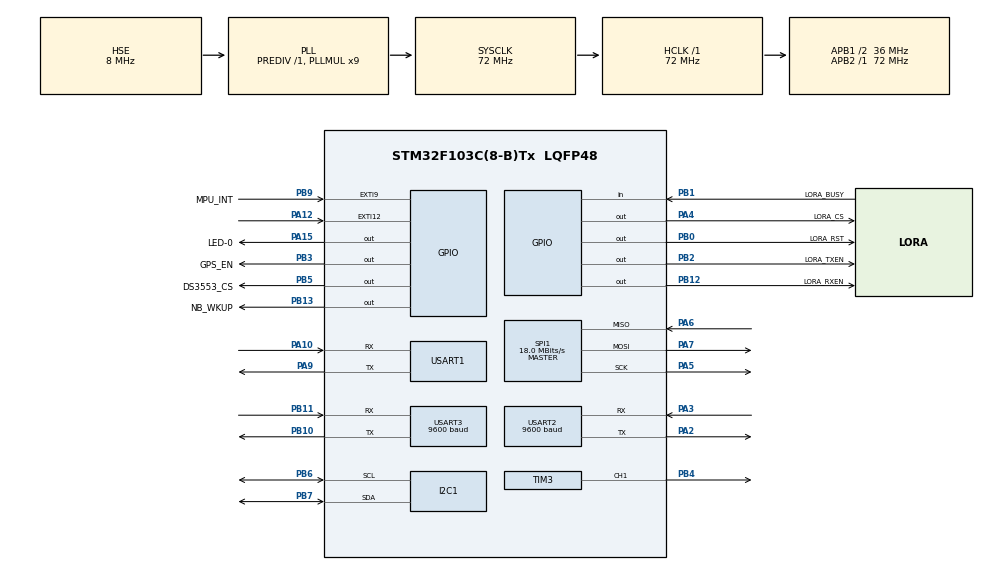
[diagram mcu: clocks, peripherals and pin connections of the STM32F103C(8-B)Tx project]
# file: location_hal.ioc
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I2C1.I2C_Mode=I2C_Standard
Mcu.Family=STM32F1
Mcu.Name=STM32F103C(8-B)Tx
Mcu.Package=LQFP48
NVIC.EXTI15_10_IRQn=true\:0\:0\:false\:false\:true\:true\:true\:true
NVIC.EXTI9_5_IRQn=true\:0\:0\:false\:false\:true\:true\:true\:true
NVIC.PriorityGroup=NVIC_PRIORITYGROUP_4
NVIC.USART2_IRQn=true\:0\:0\:false\:false\:true\:true\:true\:true
PA10.Mode=Asynchronous
PA10.Signal=USART1_RX
PA12.GPIO_ModeDefaultEXTI=GPIO_MODE_IT_FALLING
PA12.GPIO_PuPd=GPIO_PULLUP
PA12.Signal=GPXTI12
PA13.Mode=Serial_Wire
PA13.Signal=SYS_JTMS-SWDIO
PA14.Mode=Serial_Wire
PA14.Signal=SYS_JTCK-SWCLK
PA15.GPIO_Label=LED-0
PA15.GPIO_Speed=GPIO_SPEED_FREQ_HIGH
PA15.PinState=GPIO_PIN_RESET
PA15.Signal=GPIO_Output
PA2.Mode=Asynchronous
PA2.Signal=USART2_TX
PA3.Mode=Asynchronous
PA3.Signal=USART2_RX
PA4.GPIO_Label=LORA_CS
PA4.GPIO_PuPd=GPIO_NOPULL
PA4.GPIO_Speed=GPIO_SPEED_FREQ_HIGH
PA4.PinState=GPIO_PIN_RESET
PA4.Signal=GPIO_Output
PA5.Mode=Full_Duplex_Master
PA5.Signal=SPI1_SCK
PA6.Mode=Full_Duplex_Master
PA6.Signal=SPI1_MISO
PA7.Mode=Full_Duplex_Master
PA7.Signal=SPI1_MOSI
PA9.Mode=Asynchronous
PA9.Signal=USART1_TX
PB0.GPIO_Label=LORA_RST
PB0.GPIO_Speed=GPIO_SPEED_FREQ_HIGH
PB0.PinState=GPIO_PIN_RESET
PB0.Signal=GPIO_Output
PB1.GPIO_Label=LORA_BUSY
PB1.GPIO_Mode=GPIO_MODE_INPUT
PB1.GPIO_PuPd=GPIO_NOPULL
PB1.Signal=GPIO_Input
PB10.Mode=Asynchronous
PB10.Signal=USART3_TX
PB11.Mode=Asynchronous
PB11.Signal=USART3_RX
PB12.GPIO_Label=LORA_RXEN
PB12.GPIO_Speed=GPIO_SPEED_FREQ_HIGH
PB12.Signal=GPIO_Output
PB13.GPIO_Label=NB_WKUP
PB13.GPIO_Speed=GPIO_SPEED_FREQ_HIGH
PB13.PinState=GPIO_PIN_SET
PB13.Signal=GPIO_Output
PB2.GPIO_Label=LORA_TXEN
PB2.GPIO_Speed=GPIO_SPEED_FREQ_HIGH
PB2.PinState=GPIO_PIN_RESET
PB2.Signal=GPIO_Output
PB3.GPIO_Label=GPS_EN
PB3.GPIO_PuPd=GPIO_PULLDOWN
PB3.GPIO_Speed=GPIO_SPEED_FREQ_HIGH
PB3.Signal=GPIO_Output
PB4.Signal=S_TIM3_CH1
PB5.GPIO_Label=DS3553_CS
PB5.GPIO_Speed=GPIO_SPEED_FREQ_HIGH
PB5.PinState=GPIO_PIN_SET
PB5.Signal=GPIO_Output
PB6.Mode=I2C
PB6.Signal=I2C1_SCL
PB7.Mode=I2C
PB7.Signal=I2C1_SDA
PB9.GPIO_Label=MPU_INT
PB9.Signal=GPXTI9
PC14-OSC32_IN.Mode=LSE-External-Oscillator
PC14-OSC32_IN.Signal=RCC_OSC32_IN
PC15-OSC32_OUT.Mode=LSE-External-Oscillator
PC15-OSC32_OUT.Signal=RCC_OSC32_OUT
PD0-OSC_IN.Mode=HSE-External-Oscillator
PD0-OSC_IN.Signal=RCC_OSC_IN
PD1-OSC_OUT.Mode=HSE-External-Oscillator
PD1-OSC_OUT.Signal=RCC_OSC_OUT
ProjectManager.HeapSize=0x800
ProjectManager.StackSize=0x800
ProjectManager.TargetToolchain=MDK-ARM V5.32
RCC.AHBFreq_Value=72000000
RCC.APB1CLKDivider=RCC_HCLK_DIV2
RCC.APB1Freq_Value=36000000
RCC.APB1TimFreq_Value=72000000
RCC.APB2Freq_Value=72000000
RCC.APB2TimFreq_Value=72000000
RCC.HCLKFreq_Value=72000000
RCC.PLLMUL=RCC_PLL_MUL9
RCC.PLLSourceVirtual=RCC_PLLSOURCE_HSE
RCC.SYSCLKFreq_VALUE=72000000
RCC.SYSCLKSource=RCC_SYSCLKSOURCE_PLLCLK
RCC.USBFreq_Value=72000000
SH.S_TIM3_CH1.0=TIM3_CH1,PWM Generation1 CH1
SPI1.BaudRatePrescaler=SPI_BAUDRATEPRESCALER_4
SPI1.CalculateBaudRate=18.0 MBits/s
SPI1.Direction=SPI_DIRECTION_2LINES
SPI1.Mode=SPI_MODE_MASTER
SPI1.VirtualType=VM_MASTER
TIM3.Channel-PWM\ Generation1\ CH1=TIM_CHANNEL_1
TIM3.Period=20-1
TIM3.Prescaler=7200-1
TIM3.Pulse-PWM\ Generation1\ CH1=10
USART1.VirtualMode=VM_ASYNC
USART2.BaudRate=9600
USART2.VirtualMode=VM_ASYNC
USART3.BaudRate=9600
USART3.VirtualMode=VM_ASYNC
VP_TIM3_VS_ClockSourceINT.Mode=Internal
board=custom

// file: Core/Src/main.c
/* USER CODE BEGIN Header */
/**
 ******************************************************************************
 * @file           : main.c
 * @brief          : Main program body
 ******************************************************************************
 * @attention
 *
 * Copyright (c) 2026 STMicroelectronics.
 * All rights reserved.
 *
 * This software is licensed under terms that can be found in the LICENSE file
 * in the root directory of this software component.
 * If no LICENSE file comes with this software, it is provided AS-IS.
 *
 ******************************************************************************
 */
/* USER CODE END Header */
#include "main.h"
#include "i2c.h"
#include "spi.h"
#include "tim.h"
#include "usart.h"
#include "gpio.h"

/* USER CODE BEGIN Includes */
#include "Int_led.h"
#include "Int_buzzer.h"
#include "App_upload_data.h"
#include "App_warning.h"
/* USER CODE END Includes */

/* USER CODE BEGIN PD */
extern uint8_t gps_full_buff[GPS_FULL_BUFFER_SIZE];
extern uint16_t gps_full_buff_len;
/* USER CODE END PD */

void SystemClock_Config(void);

int main(void)
{

  /* MCU Configuration--------------------------------------------------------*/

  /* Reset of all peripherals, Initializes the Flash interface and the Systick. */
  HAL_Init();

  /* Configure the system clock */
  SystemClock_Config();

  /* Initialize all configured peripherals */
  MX_GPIO_Init();
  MX_USART1_UART_Init();
  MX_TIM3_Init();
  MX_I2C1_Init();
  MX_USART2_UART_Init();
  MX_USART3_UART_Init();
  MX_SPI1_Init();
  /* USER CODE BEGIN 2 */

  // 使用串口输出 -> 一个字节十位（起始位，停止位，8bit数据）-> 115200波特率相当于一秒发送 115200 / 10 = 11520字节，就是1ms 11个字节
  // HAL_UART_Transmit(&huart1, "hello world", 11, 1000); // 耗时1ms 根据波特率115200计算
  // printf("hello world\r\n");
  debug_printf("hello world");

  // 测试单色
  // Int_led_set(LED_RED);

  // 测试闪烁
  /*  for (size_t i = 0; i < 10; i++)
   {
     Int_led_blink(LED_BLUE, 500);
   } */

  // 测试彩虹灯
  /*  for (size_t i = 0; i < 5; i++)
   {
     Int_led_rainbow(15); // 15 * 72 是一轮时间
   } */

  // 测试蜂鸣器
  /* Int_buzzer_on();
  HAL_Delay(1000);
  Int_buzzer_off(); */

  // Int_buzer_play();

  // 计步器测试
  // Int_step_init();

  // GPS测试
  // Int_GPS_Init();

  // 陀螺仪测试
  // Int_MPU6050_Init();

  // IOT芯片测试
  /* Int_QS100_Init();
  uint8_t msg[] = "hello world bro";
  Int_QS100_send_msg(msg); */

  /* Lora测试 */
  /* Int_llcc68_init();

  uint8_t msg[255];
  uint16_t len = 0; */

  /* USER CODE END 2 */

  /* Infinite loop */
  /* USER CODE BEGIN WHILE */
  // uint32_t steps = 0;、
  // 初始化上传数据传感器
  App_upload_data_init();
  // 初始化警告传感器
  App_warning_init();
  uint8_t warning_status = 0;
  uint32_t tick_count = HAL_GetTick();
  while (1)
  {
    /* steps = Int_step_get_count();
    debug_printf("steps = %d", steps); */

    // Int_GPS_Update_Data();

    // HAL_Delay(1000);

    // Int_MPU6050_Get_Gyro(&gyro_data, 1);
    // debug_printf("gyro: %.4f, %.4f, %.4f", gyro_data.gx, gyro_data.gy, gyro_data.gz);
    // Int_MPU6050_Get_Accel(&accel_data, 1);
    // debug_printf("acce: %.4f, %.4f, %.4f", accel_data.ax, accel_data.ay, accel_data.az);
    // HAL_Delay(10);

    // 发送数据
    // Int_llcc68_send("hello world bro", 15);
    // 接收数据
    /* Int_llcc68_receive(msg, &len);
    if (len > 0)
    {
      debug_printf("receive %d bytes", len);
      debug_printf("msg: %s", msg);
      len = 0;
      memset(msg, 0, sizeof(msg));
    } */

    // 判断告警信息
    warning_status = App_warning_get_status();

    // 更新GPS数据

    if (gps_full_buff_len > 0)
    {
      Int_GPS_Update_Data();
      // 清空缓冲区
      memset(gps_full_buff, 0, GPS_FULL_BUFFER_SIZE);
      gps_full_buff_len = 0;

      HAL_UARTEx_ReceiveToIdle_IT(&huart2, gps_full_buff, GPS_FULL_BUFFER_SIZE);
    }

    // 上传数据
    if (warning_status == 1)
    {
      // 3s上传一次
      if (HAL_GetTick() - tick_count >= 3000)
      {
        App_upload_data(warning_status);
        tick_count = HAL_GetTick();
      }
    }
    else
    {
      // 5s上传一次
      if (HAL_GetTick() - tick_count >= 5000)
      {
        App_upload_data(warning_status);
        tick_count = HAL_GetTick();
      }
    }

    /* USER CODE END WHILE */

  }
}

void SystemClock_Config(void)
{
  RCC_OscInitTypeDef RCC_OscInitStruct = {0};
  RCC_ClkInitTypeDef RCC_ClkInitStruct = {0};

  /** Initializes the RCC Oscillators according to the specified parameters
  * in the RCC_OscInitTypeDef structure.
  */
  RCC_OscInitStruct.OscillatorType = RCC_OSCILLATORTYPE_HSE;
  RCC_OscInitStruct.HSEState = RCC_HSE_ON;
  RCC_OscInitStruct.HSEPredivValue = RCC_HSE_PREDIV_DIV1;
  RCC_OscInitStruct.HSIState = RCC_HSI_ON;
  RCC_OscInitStruct.PLL.PLLState = RCC_PLL_ON;
  RCC_OscInitStruct.PLL.PLLSource = RCC_PLLSOURCE_HSE;
  RCC_OscInitStruct.PLL.PLLMUL = RCC_PLL_MUL9;
  if (HAL_RCC_OscConfig(&RCC_OscInitStruct) != HAL_OK)
  {
    Error_Handler();
  }

  /** Initializes the CPU, AHB and APB buses clocks
  */
  RCC_ClkInitStruct.ClockType = RCC_CLOCKTYPE_HCLK|RCC_CLOCKTYPE_SYSCLK
                              |RCC_CLOCKTYPE_PCLK1|RCC_CLOCKTYPE_PCLK2;
  RCC_ClkInitStruct.SYSCLKSource = RCC_SYSCLKSOURCE_PLLCLK;
  RCC_ClkInitStruct.AHBCLKDivider = RCC_SYSCLK_DIV1;
  RCC_ClkInitStruct.APB1CLKDivider = RCC_HCLK_DIV2;
  RCC_ClkInitStruct.APB2CLKDivider = RCC_HCLK_DIV1;

  if (HAL_RCC_ClockConfig(&RCC_ClkInitStruct, FLASH_LATENCY_2) != HAL_OK)
  {
    Error_Handler();
  }
}

void Error_Handler(void)
{
  __disable_irq();
  while (1)
  {
  }
}
